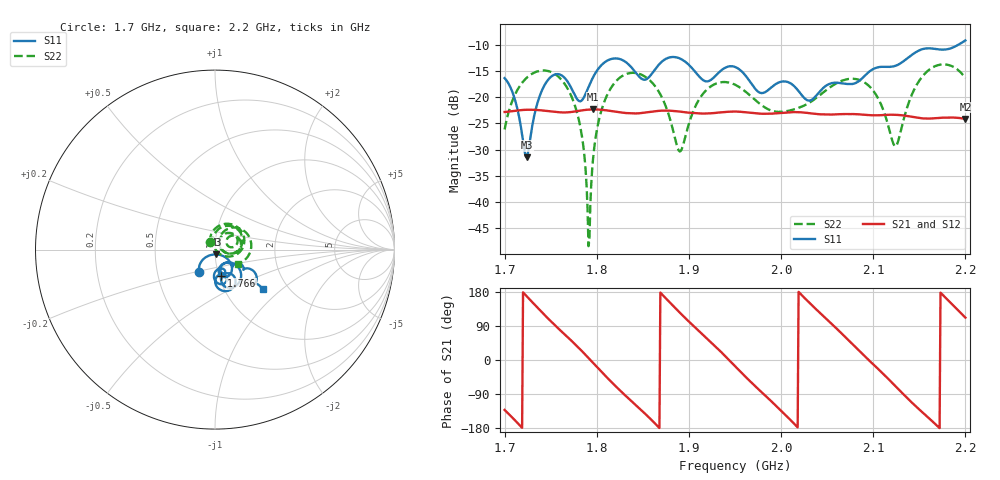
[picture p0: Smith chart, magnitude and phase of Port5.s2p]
# Hz S RI R 50
! CMT, CMT808U, 21440046, 21.4.3/4
! Date: 12/13/2025 10:47:42 PM
! Data: Format (Calibration Info)
! Freq	S11:Re/Im(F2)	S41:Re/Im(F2)	S14:Re/Im(F2)	S44:Re/Im(F2)
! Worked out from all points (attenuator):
!   501 points, 1.7 GHz to 2.2 GHz, reference 50 ohm
!   highest |S21| = -22.35 dB at 1.796 GHz (marker M1); lowest = -24.1 dB at 2.2 GHz (marker M2)
!   lowest |S11| = -31.5 dB at 1.724 GHz (marker M3), VSWR 1.05, Z = 50.2 - j2.67 ohm
!   |S11| at or under -10 dB: start of sweep to 2.193 GHz
!   |S22| runs from -48.4 to -13.8 dB; largest |S21 - S12| = 0.00039
!   S11 on the Smith chart (normalised r, x): 1.7 GHz: 0.82, -0.21; 1.766 GHz: 1.02, -0.31; 2.2 GHz: 1.49, -0.75
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1.7e9  -0.0871 -0.124  -0.048 -0.0538  -0.0478 -0.0537  -0.0274 0.0407
1.724e9  0.00282 -0.0266  -0.0741 0.0154  -0.0739 0.0153  0.0535 0.1431
1.742e9  0.0907 -0.0838  -0.0396 0.063  -0.0397 0.0628  0.1462 0.1038
1.766e9  0.0333 -0.1458  0.0294 0.065  0.0293 0.0649  0.1285 -0.0214
1.784e9  0.0576 -0.0736  0.0686 0.0295  0.0684 0.0296  0.0322 -0.0269
1.791e9  0.0991 -0.0752  0.0756 0.00723  0.0754 0.00732  0.00378 -0.000382
1.796e9  0.1244 -0.0917  0.0756 -0.00999  0.0754 -0.0098  -0.0079 0.0247
1.805e9  0.1455 -0.1388  0.065 -0.0388  0.0649 -0.0385  -0.00718 0.074
1.821e9  0.1066 -0.2077  0.0243 -0.0683  0.0244 -0.068  0.0549 0.1308
1.851e9  0.0545 -0.1359  -0.0529 -0.047  -0.0528 -0.047  0.1532 0.0428
1.867e9  0.1138 -0.1667  -0.0738 -0.00377  -0.0737 -0.00396  0.1127 -0.0156
1.89e9  0.0427 -0.2294  -0.0419 0.0594  -0.0421 0.0592  0.0278 0.012
1.916e9  0.0191 -0.1427  0.0296 0.0631  0.0293 0.063  0.061 0.0909
1.95e9  0.0263 -0.1919  0.07 -0.0202  0.0698 -0.0199  0.125 0.0399
1.992e9  0.0554 -0.1164  -0.0293 -0.0632  -0.029 -0.0633  0.0692 0.0239
2.034e9  0.0589 -0.0747  -0.0558 0.0417  -0.0559 0.0415  0.0686 0.0617
2.085e9  0.121 -0.0765  0.0628 0.0273  0.0625 0.0274  0.1441 0.0207
2.117e9  0.1589 -0.1111  0.0423 -0.053  0.0423 -0.0528  0.0496 -0.00971
2.125e9  0.1699 -0.1052  0.0218 -0.0641  0.022 -0.064  0.0289 0.0186
2.143e9  0.222 -0.128  -0.0272 -0.0587  -0.0268 -0.0587  0.0481 0.0999
2.163e9  0.2189 -0.1911  -0.0585 -0.0222  -0.0584 -0.0223  0.1521 0.1108
2.2e9  0.2654 -0.2222  -0.0231 0.0576  -0.0232 0.0575  0.1285 -0.0797
